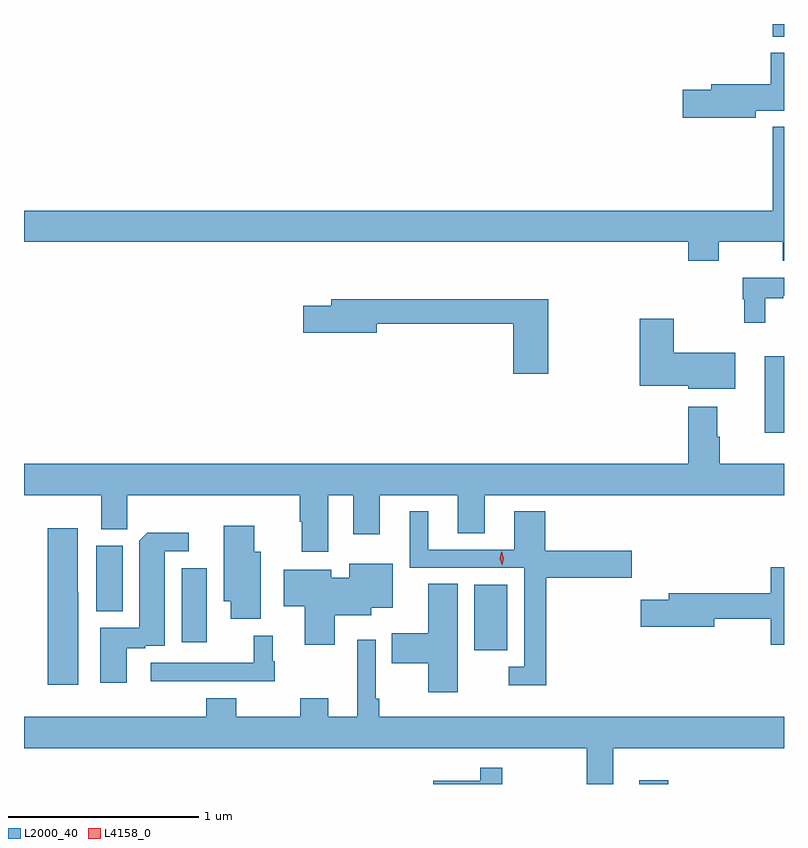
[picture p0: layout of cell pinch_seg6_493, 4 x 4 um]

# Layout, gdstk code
import gdstk
lib = gdstk.Library(unit=1e-6, precision=1e-09)
def R(c, l, rs):  # rectangles x0, y0, x1, y1
    for r in rs: c.add(gdstk.rectangle(r[:2], r[2:], *l))
def P(c, l, *ps):  # polygons
    for p in ps: c.add(gdstk.Polygon(p, *l))
L2000_40 = (2000, 40)
L4158_0 = (4158, 0)

pinch_seg6_493 = lib.new_cell('pinch_seg6_493')
R(pinch_seg6_493, L2000_40, [(845.093,953.807,845.246,953.827), (844.226,954.512,844.399,954.856), (842.684,954.554,842.818,954.943), (842.234,954.715,842.374,955.062), (845.753,955.656,845.855,956.059), (845.795,957.74,845.855,957.807)])
P(pinch_seg6_493, L2000_40, [(845.706,957.35),(845.855,957.35),(845.855,957.655),(845.786,957.655),(845.786,957.491),(845.471,957.491),(845.471,957.461),(845.322,957.461),(845.322,957.314),(845.706,957.314)],
  [(845.511,956.66),(845.848,956.66),(845.848,956.561),(845.855,956.561),(845.855,957.265),(845.795,957.265),(845.795,956.824),(841.855,956.824),(841.855,956.66),(845.351,956.66),(845.351,956.561),(845.511,956.561)],
  [(845.757,956.364),(845.851,956.364),(845.851,956.376),(845.855,956.376),(845.855,956.472),(845.638,956.472),(845.638,956.358),(845.646,956.358),(845.646,956.235),(845.757,956.235)],
  [(844.613,956.359),(843.473,956.359),(843.473,956.325),(843.324,956.325),(843.324,956.183),(843.712,956.183),(843.712,956.23),(844.43,956.23),(844.43,955.965),(844.613,955.965)],
  [(845.599,956.077),(845.274,956.077),(845.274,956.257),(845.096,956.257),(845.096,955.904),(845.352,955.904),(845.352,955.886),(845.599,955.886)],
  [(845.351,955.792),(845.351,955.492),(841.855,955.492),(841.855,955.328),(842.261,955.328),(842.261,955.147),(842.399,955.147),(842.399,955.328),(843.305,955.328),(843.305,955.187),(843.317,955.187),(843.317,955.029),(843.457,955.029),(843.457,955.328),(843.587,955.328),(843.587,955.122),(843.727,955.122),(843.727,955.328),(844.139,955.328),(844.139,955.126),(844.279,955.126),(844.279,955.328),(845.855,955.328),(845.855,955.492),(845.516,955.492),(845.516,955.634),(845.503,955.634),(845.503,955.792)],
  [(844.604,954.893),(845.053,954.893),(845.053,955.035),(844.598,955.035),(844.598,955.243),(844.436,955.243),(844.436,955.041),(843.982,955.041),(843.982,955.243),(843.884,955.243),(843.884,954.945),(844.488,954.945),(844.488,954.423),(844.407,954.423),(844.407,954.326),(844.604,954.326)],
  [(843.1,955.03),(843.067,955.03),(843.067,955.165),(842.906,955.165),(842.906,954.77),(842.942,954.77),(842.942,954.678),(843.1,954.678)],
  [(842.14,954.816),(842.137,954.816),(842.137,955.153),(841.979,955.153),(841.979,954.33),(842.14,954.33)],
  [(842.395,954.522),(842.492,954.522),(842.492,954.534),(842.596,954.534),(842.596,955.032),(842.722,955.032),(842.722,955.13),(842.503,955.13),(842.462,955.088),(842.462,954.63),(842.255,954.63),(842.255,954.339),(842.395,954.339)],
  [(843.49,954.695),(843.682,954.695),(843.682,954.734),(843.796,954.734),(843.796,954.967),(843.566,954.967),(843.566,954.892),(843.472,954.892),(843.472,954.934),(843.221,954.934),(843.221,954.743),(843.332,954.743),(843.332,954.54),(843.49,954.54)],
  [(845.855,954.949),(845.786,954.949),(845.786,954.812),(845.249,954.812),(845.249,954.776),(845.1,954.776),(845.1,954.634),(845.488,954.634),(845.488,954.676),(845.786,954.676),(845.786,954.539),(845.855,954.539)],
  [(844.138,954.86),(843.983,954.86),(843.983,954.601),(843.79,954.601),(843.79,954.443),(843.983,954.443),(843.983,954.291),(844.138,954.291)],
  [(843.175,954.452),(843.163,954.452),(843.163,954.586),(843.064,954.586),(843.064,954.444),(842.523,954.444),(842.523,954.348),(843.175,954.348)],
  [(844.957,953.996),(845.855,953.996),(845.855,954.16),(843.725,954.16),(843.725,954.256),(843.705,954.256),(843.705,954.565),(843.608,954.565),(843.608,954.16),(843.457,954.16),(843.457,954.259),(843.31,954.259),(843.31,954.16),(842.973,954.16),(842.973,954.259),(842.813,954.259),(842.813,954.16),(841.855,954.16),(841.855,953.996),(844.818,953.996),(844.818,953.807),(844.957,953.807)],
  [(844.372,953.893),(844.255,953.893),(844.255,953.824),(844.008,953.824),(844.008,953.807),(844.372,953.807)])
P(pinch_seg6_493, L4158_0, [(844.372,954.957),(844.372,954.958),(844.36,954.992),(844.368,955.029),(844.369,955.029),(844.369,955.029),(844.38,954.994),(844.372,954.958)])

lib.write_gds('pinch_seg6_493.gds')
